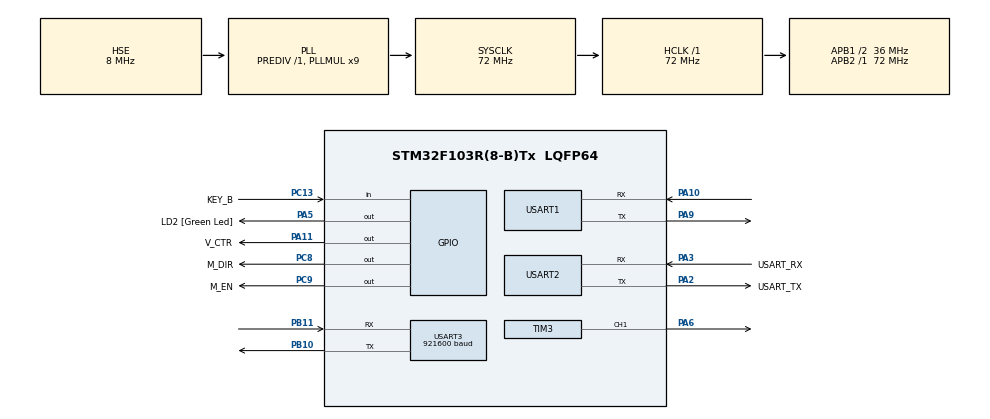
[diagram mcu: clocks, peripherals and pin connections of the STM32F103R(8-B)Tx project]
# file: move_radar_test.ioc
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Dma.Request0=USART2_TX
Dma.Request1=USART2_RX
Dma.Request2=USART3_RX
Dma.USART2_RX.1.Direction=DMA_PERIPH_TO_MEMORY
Dma.USART2_RX.1.Instance=DMA1_Channel6
Dma.USART2_RX.1.MemDataAlignment=DMA_MDATAALIGN_BYTE
Dma.USART2_RX.1.MemInc=DMA_MINC_ENABLE
Dma.USART2_RX.1.Mode=DMA_NORMAL
Dma.USART2_RX.1.PeriphDataAlignment=DMA_PDATAALIGN_BYTE
Dma.USART2_RX.1.PeriphInc=DMA_PINC_DISABLE
Dma.USART2_RX.1.Priority=DMA_PRIORITY_LOW
Dma.USART2_TX.0.Direction=DMA_MEMORY_TO_PERIPH
Dma.USART2_TX.0.Instance=DMA1_Channel7
Dma.USART2_TX.0.MemDataAlignment=DMA_MDATAALIGN_BYTE
Dma.USART2_TX.0.MemInc=DMA_MINC_ENABLE
Dma.USART2_TX.0.Mode=DMA_NORMAL
Dma.USART2_TX.0.PeriphDataAlignment=DMA_PDATAALIGN_BYTE
Dma.USART2_TX.0.PeriphInc=DMA_PINC_DISABLE
Dma.USART2_TX.0.Priority=DMA_PRIORITY_LOW
Dma.USART3_RX.2.Direction=DMA_PERIPH_TO_MEMORY
Dma.USART3_RX.2.Instance=DMA1_Channel3
Dma.USART3_RX.2.MemDataAlignment=DMA_MDATAALIGN_BYTE
Dma.USART3_RX.2.MemInc=DMA_MINC_ENABLE
Dma.USART3_RX.2.Mode=DMA_NORMAL
Dma.USART3_RX.2.PeriphDataAlignment=DMA_PDATAALIGN_BYTE
Dma.USART3_RX.2.PeriphInc=DMA_PINC_DISABLE
Dma.USART3_RX.2.Priority=DMA_PRIORITY_LOW
FREERTOS.Tasks01=defaultTask,0,128,StartDefaultTask,Default,NULL,Dynamic,NULL,NULL
Mcu.Family=STM32F1
Mcu.Name=STM32F103R(8-B)Tx
Mcu.Package=LQFP64
NVIC.DMA1_Channel3_IRQn=true\:5\:0\:false\:false\:true\:true\:false\:true\:true
NVIC.DMA1_Channel6_IRQn=true\:5\:0\:false\:false\:true\:true\:false\:true\:true
NVIC.DMA1_Channel7_IRQn=true\:5\:0\:false\:false\:true\:true\:false\:true\:true
NVIC.PriorityGroup=NVIC_PRIORITYGROUP_4
NVIC.TIM1_UP_IRQn=true\:15\:0\:false\:false\:true\:false\:false\:true\:true
NVIC.TimeBase=TIM1_UP_IRQn
NVIC.TimeBaseIP=TIM1
NVIC.USART2_IRQn=true\:5\:0\:false\:false\:true\:true\:true\:true\:true
NVIC.USART3_IRQn=true\:5\:0\:false\:false\:true\:true\:true\:true\:true
PA10.Mode=Asynchronous
PA10.Signal=USART1_RX
PA11.GPIO_Label=V_CTR
PA11.GPIO_Speed=GPIO_SPEED_FREQ_HIGH
PA11.Signal=GPIO_Output
PA13.GPIO_Label=TMS
PA13.Mode=Serial_Wire
PA13.Signal=SYS_JTMS-SWDIO
PA14.GPIO_Label=TCK
PA14.Mode=Serial_Wire
PA14.Signal=SYS_JTCK-SWCLK
PA2.GPIO_Label=USART_TX
PA2.GPIO_Mode=GPIO_MODE_AF_PP
PA2.GPIO_PuPd=GPIO_NOPULL
PA2.GPIO_Speed=GPIO_SPEED_FREQ_LOW
PA2.Mode=Asynchronous
PA2.Signal=USART2_TX
PA3.GPIO_Label=USART_RX
PA3.GPIO_Mode=GPIO_MODE_AF_PP
PA3.GPIO_PuPd=GPIO_NOPULL
PA3.GPIO_Speed=GPIO_SPEED_FREQ_LOW
PA3.Mode=Asynchronous
PA3.Signal=USART2_RX
PA5.GPIO_Label=LD2 [Green Led]
PA5.GPIO_ModeDefaultOutputPP=GPIO_MODE_OUTPUT_PP
PA5.GPIO_PuPd=GPIO_NOPULL
PA5.GPIO_Speed=GPIO_SPEED_FREQ_LOW
PA5.Signal=GPIO_Output
PA6.Signal=S_TIM3_CH1
PA9.Mode=Asynchronous
PA9.Signal=USART1_TX
PB10.Mode=Asynchronous
PB10.Signal=USART3_TX
PB11.Mode=Asynchronous
PB11.Signal=USART3_RX
PB3.GPIO_Label=SWO
PB3.Signal=SYS_JTDO-TRACESWO
PC13-TAMPER-RTC.GPIO_Label=KEY_B
PC13-TAMPER-RTC.Signal=GPIO_Input
PC14-OSC32_IN.Mode=LSE-External-Oscillator
PC14-OSC32_IN.Signal=RCC_OSC32_IN
PC15-OSC32_OUT.Mode=LSE-External-Oscillator
PC15-OSC32_OUT.Signal=RCC_OSC32_OUT
PC8.GPIO_Label=M_DIR
PC8.PinState=GPIO_PIN_SET
PC8.Signal=GPIO_Output
PC9.GPIO_Label=M_EN
PC9.PinState=GPIO_PIN_SET
PC9.Signal=GPIO_Output
PD0-OSC_IN.Mode=HSE-External-Clock-Source
PD0-OSC_IN.Signal=RCC_OSC_IN
PD1-OSC_OUT.Mode=HSE-External-Clock-Source
PD1-OSC_OUT.Signal=RCC_OSC_OUT
ProjectManager.HeapSize=0x200
ProjectManager.StackSize=0x400
ProjectManager.TargetToolchain=MDK-ARM V5.32
RCC.AHBFreq_Value=72000000
RCC.APB1CLKDivider=RCC_HCLK_DIV2
RCC.APB1Freq_Value=36000000
RCC.APB1TimFreq_Value=72000000
RCC.APB2Freq_Value=72000000
RCC.APB2TimFreq_Value=72000000
RCC.HCLKFreq_Value=72000000
RCC.PLLMUL=RCC_PLL_MUL9
RCC.PLLSourceVirtual=RCC_PLLSOURCE_HSE
RCC.RTCClockSelection=RCC_RTCCLKSOURCE_LSE
RCC.SYSCLKFreq_VALUE=72000000
RCC.SYSCLKSource=RCC_SYSCLKSOURCE_PLLCLK
RCC.USBFreq_Value=72000000
SH.S_TIM3_CH1.0=TIM3_CH1,PWM Generation1 CH1
TIM3.Channel-PWM\ Generation1\ CH1=TIM_CHANNEL_1
TIM3.Period=37-1
TIM3.Prescaler=72-1
TIM3.Pulse-PWM\ Generation1\ CH1=18-1
USART1.VirtualMode=VM_ASYNC
USART2.VirtualMode=VM_ASYNC
USART3.BaudRate=921600
USART3.Mode=MODE_RX
USART3.VirtualMode=VM_ASYNC
VP_FREERTOS_VS_CMSIS_V1.Mode=CMSIS_V1
VP_SYS_VS_tim1.Mode=TIM1
board=NUCLEO-F103RB

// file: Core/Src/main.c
/* USER CODE BEGIN Header */
/**
  ******************************************************************************
  * @file           : main.c
  * @brief          : Main program body
  ******************************************************************************
  * @attention
  *
  * Copyright (c) 2022 STMicroelectronics.
  * All rights reserved.
  *
  * This software is licensed under terms that can be found in the LICENSE file
  * in the root directory of this software component.
  * If no LICENSE file comes with this software, it is provided AS-IS.
  *
  ******************************************************************************
  */
/* USER CODE END Header */
#include "main.h"
#include "cmsis_os.h"
#include "dma.h"
#include "tim.h"
#include "usart.h"
#include "gpio.h"

/* USER CODE BEGIN PV */
SYSRAMTYPE SysRam;
/* USER CODE END PV */

void SystemClock_Config(void);
void MX_FREERTOS_Init(void);

/* USER CODE BEGIN 0 */
void microdelay(uint32_t us)
{
	uint32_t x,y;

	for(x=0;x<100;x++)
		for(y=0;y<79;y++)
			__NOP();
}
/* USER CODE END 0 */

int main(void)
{

  /* MCU Configuration--------------------------------------------------------*/

  /* Reset of all peripherals, Initializes the Flash interface and the Systick. */
  HAL_Init();

  /* Configure the system clock */
  SystemClock_Config();

  /* Initialize all configured peripherals */
  MX_GPIO_Init();
  MX_DMA_Init();
  MX_USART2_UART_Init();
  MX_USART3_UART_Init();
  MX_TIM3_Init();
  MX_USART1_UART_Init();

  /* Call init function for freertos objects (in freertos.c) */
  MX_FREERTOS_Init();

  /* Start scheduler */
  osKernelStart();

  /* We should never get here as control is now taken by the scheduler */
  /* Infinite loop */
  /* USER CODE BEGIN WHILE */
  while (1)
  {
		//HAL_UART_Transmit(&huart1,"hello world", 11, 1000);
		//HAL_UART_Transmit(&huart2,(uint8_t*)"hello world\n", 12, 1000);
		printf("hellow world!\n");
		//HAL_UART_Transmit(&huart3,"hello world", 11, 1000);
		HAL_Delay(1000);
    /* USER CODE END WHILE */

  }
}

void SystemClock_Config(void)
{
  RCC_OscInitTypeDef RCC_OscInitStruct = {0};
  RCC_ClkInitTypeDef RCC_ClkInitStruct = {0};

  /** Initializes the RCC Oscillators according to the specified parameters
  * in the RCC_OscInitTypeDef structure.
  */
  RCC_OscInitStruct.OscillatorType = RCC_OSCILLATORTYPE_HSE;
  RCC_OscInitStruct.HSEState = RCC_HSE_BYPASS;
  RCC_OscInitStruct.HSEPredivValue = RCC_HSE_PREDIV_DIV1;
  RCC_OscInitStruct.HSIState = RCC_HSI_ON;
  RCC_OscInitStruct.PLL.PLLState = RCC_PLL_ON;
  RCC_OscInitStruct.PLL.PLLSource = RCC_PLLSOURCE_HSE;
  RCC_OscInitStruct.PLL.PLLMUL = RCC_PLL_MUL9;
  if (HAL_RCC_OscConfig(&RCC_OscInitStruct) != HAL_OK)
  {
    Error_Handler();
  }

  /** Initializes the CPU, AHB and APB buses clocks
  */
  RCC_ClkInitStruct.ClockType = RCC_CLOCKTYPE_HCLK|RCC_CLOCKTYPE_SYSCLK
                              |RCC_CLOCKTYPE_PCLK1|RCC_CLOCKTYPE_PCLK2;
  RCC_ClkInitStruct.SYSCLKSource = RCC_SYSCLKSOURCE_PLLCLK;
  RCC_ClkInitStruct.AHBCLKDivider = RCC_SYSCLK_DIV1;
  RCC_ClkInitStruct.APB1CLKDivider = RCC_HCLK_DIV2;
  RCC_ClkInitStruct.APB2CLKDivider = RCC_HCLK_DIV1;

  if (HAL_RCC_ClockConfig(&RCC_ClkInitStruct, FLASH_LATENCY_2) != HAL_OK)
  {
    Error_Handler();
  }
}

/* USER CODE BEGIN 4 */
int fputc(int ch, FILE* stream)
{
	//USART_SendData(USART1, (unsigned char) ch);
	//while (!(USART1->SR & USART_FLAG_TXE));
	HAL_UART_Transmit(&huart2,(uint8_t*)&ch, 1, 100);

	return ch;
}
/* USER CODE END 4 */

void HAL_TIM_PeriodElapsedCallback(TIM_HandleTypeDef *htim)
{
  if (htim->Instance == TIM1) {
    HAL_IncTick();
  }
}

void Error_Handler(void)
{
  __disable_irq();
  while (1)
  {
  }
}

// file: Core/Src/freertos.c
/* USER CODE BEGIN Header */
/**
  ******************************************************************************
  * File Name          : freertos.c
  * Description        : Code for freertos applications
  ******************************************************************************
  * @attention
  *
  * Copyright (c) 2022 STMicroelectronics.
  * All rights reserved.
  *
  * This software is licensed under terms that can be found in the LICENSE file
  * in the root directory of this software component.
  * If no LICENSE file comes with this software, it is provided AS-IS.
  *
  ******************************************************************************
  */
/* USER CODE END Header */

#include "FreeRTOS.h"
#include "task.h"
#include "main.h"
#include "cmsis_os.h"

/* USER CODE BEGIN Variables */
osThreadId keyTaskHandle;
osThreadId funTaskHandle;
osThreadId RadarTaskHandle;
/* USER CODE END Variables */
osThreadId defaultTaskHandle;

void StartDefaultTask(void const * argument);

void MX_FREERTOS_Init(void); /* (MISRA C 2004 rule 8.1) */

/* GetIdleTaskMemory prototype (linked to static allocation support) */
void vApplicationGetIdleTaskMemory( StaticTask_t **ppxIdleTaskTCBBuffer, StackType_t **ppxIdleTaskStackBuffer, uint32_t *pulIdleTaskStackSize );

/* USER CODE BEGIN GET_IDLE_TASK_MEMORY */
static StaticTask_t xIdleTaskTCBBuffer;
static StackType_t xIdleStack[configMINIMAL_STACK_SIZE];

void vApplicationGetIdleTaskMemory( StaticTask_t **ppxIdleTaskTCBBuffer, StackType_t **ppxIdleTaskStackBuffer, uint32_t *pulIdleTaskStackSize )
{
  *ppxIdleTaskTCBBuffer = &xIdleTaskTCBBuffer;
  *ppxIdleTaskStackBuffer = &xIdleStack[0];
  *pulIdleTaskStackSize = configMINIMAL_STACK_SIZE;
  /* place for user code */
}
/* USER CODE END GET_IDLE_TASK_MEMORY */

void MX_FREERTOS_Init(void) {

  /* Create the thread(s) */
  /* definition and creation of defaultTask */
  osThreadDef(defaultTask, StartDefaultTask, osPriorityNormal, 0, 128);
  defaultTaskHandle = osThreadCreate(osThread(defaultTask), NULL);

  /* USER CODE BEGIN RTOS_THREADS */
  /* add threads, ... */
	osThreadDef(keyTask, StartKeyTask, osPriorityHigh, 0, 128);
	keyTaskHandle = osThreadCreate(osThread(keyTask), NULL);

	osThreadDef(funTask, StartFunTask, osPriorityHigh, 0, 128);
	funTaskHandle = osThreadCreate(osThread(funTask), NULL);

	osThreadDef(radarTask, StartRadarTask, osPriorityHigh, 0, 128);
	RadarTaskHandle= osThreadCreate(osThread(radarTask), NULL);
  /* USER CODE END RTOS_THREADS */

}

void StartDefaultTask(void const * argument)
{
  for(;;)
  {
    osDelay(1);
  }
}
